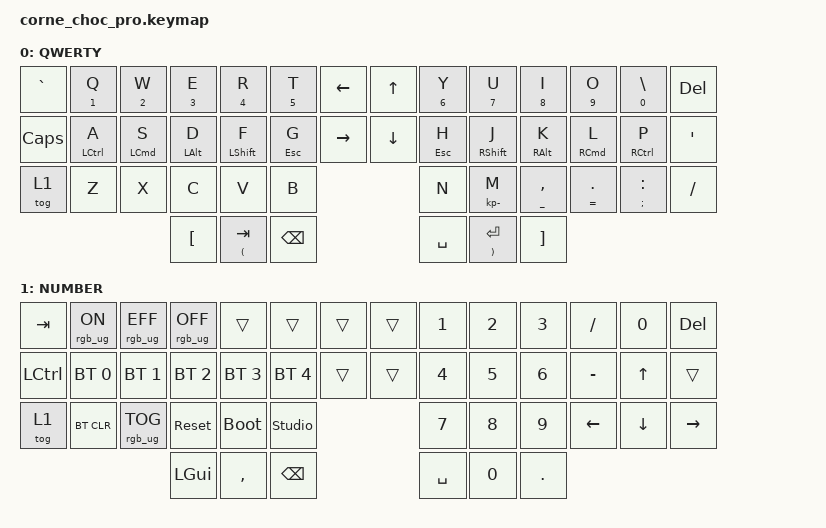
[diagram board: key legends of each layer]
/*
 * Copyright (c) 2020 The ZMK Contributors
 *
 * SPDX-License-Identifier: MIT
 */

#include <behaviors.dtsi>
#include <dt-bindings/zmk/bt.h>
#include <dt-bindings/zmk/keys.h>
#include <dt-bindings/zmk/rgb.h>

/ {
    chosen { zmk,physical-layout = &default_layout; };
};

/ {
    behaviors {
        hml: hml {
            compatible = "zmk,behavior-hold-tap";
            label = "HML";
            bindings = <&kp>, <&kp>;

            #binding-cells = <2>;
            tapping-term-ms = <200>;
            hold-trigger-key-positions = <22 7 21 34 43 44 45 9 10 11 12 13 23 24 25 26 27 35 36 37 38 39 44 45 8 32 31 41>;
            flavor = "tap-preferred";
        };

        hmr: hmr {
            compatible = "zmk,behavior-hold-tap";
            label = "HMR";
            bindings = <&kp>, <&kp>;

            #binding-cells = <2>;
            hold-trigger-key-positions = <0 1 2 3 4 5 6 14 15 16 17 18 19 20 28 29 30 31 32 33 40 41 42 43>;
            tapping-term-ms = <200>;
            flavor = "tap-preferred";
        };

        hold_layer: hold_layer {
            compatible = "zmk,behavior-hold-tap";
            label = "HOLD_LAYER";
            bindings = <&tog>, <&tog>;

            #binding-cells = <2>;
            tapping-term-ms = <200>;
            flavor = "tap-preferred";
        };

        long_press: long_press {
            compatible = "zmk,behavior-hold-tap";
            label = "LONG_PRESS";
            bindings = <&kp>, <&kp>;

            #binding-cells = <2>;
            tapping-term-ms = <215>;
            flavor = "tap-preferred";
        };
    };

    keymap {
        compatible = "zmk,keymap";

        default_layer {
            display-name = "QWERTY";

            // --------------------------------------------------------------------------------
            // |  TAB |  Q  |  W  |  E  |  R  |  T  |  MUTE |  PP   |  Y  |  U   |  I  |  O  |  P  | BSPC |
            // | CTRL |  A  |  S  |  D  |  F  |  G  |  LALT |  RALT |  H  |  J   |  K  |  L  |  ;  |  '   |
            // | SHFT |  Z  |  X  |  C  |  V  |  B  |               |  N  |  M   |  ,  |  .  |  /  | ESC  |
            //                    | GUI | LWR | SPC |               | ENT | RSE  | ALT |

            bindings = <
&kp GRAVE     &long_press NUMBER_1 Q  &long_press NUMBER_2 W  &long_press NUMBER_3 E  &long_press NUMBER_4 R            &long_press N5 T   &kp LEFT_ARROW  &kp UP_ARROW  &long_press NUMBER_6 Y  &long_press N7 U                     &long_press N8 I         &long_press N9 O       &long_press N0 BACKSLASH  &kp DELETE
&kp CAPSLOCK  &hml LEFT_CONTROL A     &hml LEFT_COMMAND S     &hml LEFT_ALT D         &hml LEFT_SHIFT F                 &long_press ESC G  &kp RIGHT       &kp DOWN      &long_press ESC H       &hmr RIGHT_SHIFT J                   &hmr RIGHT_ALT K         &hmr RIGHT_COMMAND L   &hmr RIGHT_CONTROL P      &kp SQT
&tog 1        &kp Z                   &kp X                   &kp C                   &kp V                             &kp B                                            &kp N                   &long_press KP_SUBTRACT M            &long_press UNDER COMMA  &long_press EQUAL DOT  &long_press SEMI COLON    &kp SLASH
                                                              &kp LEFT_BRACKET        &long_press LEFT_PARENTHESIS TAB  &kp BACKSPACE                                    &kp SPACE               &long_press RIGHT_PARENTHESIS ENTER  &kp RIGHT_BRACKET
            >;
        };

        lower_layer {
            display-name = "NUMBER";

            // -----------------------------------------------------------------------------------------
            // |  TAB |  1  |  2  |  3  |  4  |  5    |  LCTRL | RCTRL |  6  |  7  |  8  |  9  |  0  | BSPC |
            // | CTRL | BT1 | BT2 | BT3 | BT4 | BT5   |  LALT  | RALT  | LFT | DWN |  UP | RGT |     |      |
            // | SHFT | BTCR| RGB | RST | BOOT| Unlock|        |       |     |     |     |     |     |      |
            //                    | GUI |     | SPC   |        | ENT   |     | ALT |

            bindings = <
&kp TAB    &rgb_ug RGB_ON  &rgb_ug RGB_EFF  &rgb_ug RGB_OFF  &trans        &trans          &trans  &trans  &kp NUMBER_1  &kp NUMBER_2  &kp NUMBER_3  &kp SLASH  &kp N0    &kp DEL
&kp LCTRL  &bt BT_SEL 0    &bt BT_SEL 1     &bt BT_SEL 2     &bt BT_SEL 3  &bt BT_SEL 4    &trans  &trans  &kp NUMBER_4  &kp N5        &kp NUMBER_6  &kp MINUS  &kp UP    &trans
&tog 1     &bt BT_CLR      &rgb_ug RGB_TOG  &sys_reset       &bootloader   &studio_unlock                  &kp NUMBER_7  &kp N8        &kp N9        &kp LEFT   &kp DOWN  &kp RIGHT
                                            &kp LGUI         &kp COMMA     &kp BACKSPACE                   &kp SPACE     &kp N0        &kp PERIOD
            >;
        };
    };
};
